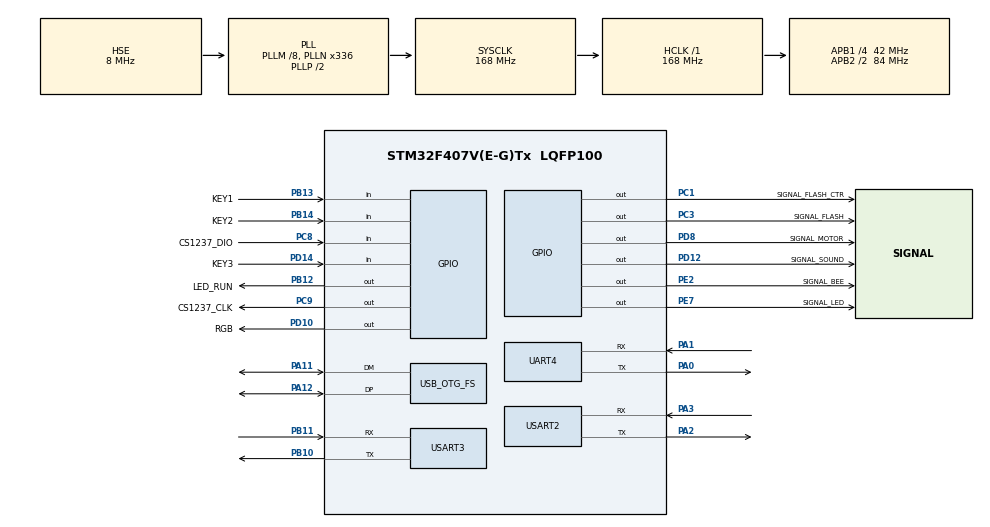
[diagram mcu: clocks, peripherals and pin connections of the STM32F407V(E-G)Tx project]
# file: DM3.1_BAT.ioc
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Mcu.Family=STM32F4
Mcu.Name=STM32F407V(E-G)Tx
Mcu.Package=LQFP100
NVIC.OTG_FS_IRQn=true\:0\:0\:false\:false\:true\:false\:true\:true
NVIC.PriorityGroup=NVIC_PRIORITYGROUP_4
NVIC.TIM2_IRQn=true\:5\:0\:false\:false\:true\:true\:true\:true
NVIC.TIM4_IRQn=true\:5\:0\:false\:false\:true\:true\:true\:true
NVIC.TIM6_DAC_IRQn=true\:5\:0\:false\:false\:true\:true\:true\:true
PA0-WKUP.Mode=Asynchronous
PA0-WKUP.Signal=UART4_TX
PA1.Mode=Asynchronous
PA1.Signal=UART4_RX
PA11.Mode=Device_Only
PA11.Signal=USB_OTG_FS_DM
PA12.Mode=Device_Only
PA12.Signal=USB_OTG_FS_DP
PA13.Mode=Serial_Wire
PA13.Signal=SYS_JTMS-SWDIO
PA14.Mode=Serial_Wire
PA14.Signal=SYS_JTCK-SWCLK
PA2.Mode=Asynchronous
PA2.Signal=USART2_TX
PA3.Mode=Asynchronous
PA3.Signal=USART2_RX
PB3.GPIO_Label=FAN_SPEED_1
PB3.Signal=TIM2_CH2
PB6.GPIO_Label=FAN_SPEED_2
PB6.Signal=TIM4_CH1
PB9.GPIO_Label=FAN_PWM
PB9.Signal=TIM11_CH1
PB10.Mode=Asynchronous
PB10.Signal=USART3_TX
PB11.Mode=Asynchronous
PB11.Signal=USART3_RX
PB12.GPIO_Label=LED_RUN
PB12.Signal=GPIO_Output
PB13.GPIO_Label=KEY1
PB13.GPIO_PuPd=GPIO_PULLUP
PB13.Signal=GPIO_Input
PB14.GPIO_Label=KEY2
PB14.GPIO_PuPd=GPIO_PULLUP
PB14.Signal=GPIO_Input
PC1.GPIO_Label=SIGNAL_FLASH_CTR
PC1.Signal=GPIO_Output
PC3.GPIO_Label=SIGNAL_FLASH
PC3.Signal=GPIO_Output
PC8.GPIO_Label=CS1237_DIO
PC8.Signal=GPIO_Input
PC9.GPIO_Label=CS1237_CLK
PC9.Signal=GPIO_Output
PD8.GPIO_Label=SIGNAL_MOTOR
PD8.Signal=GPIO_Output
PD10.GPIO_Label=RGB
PD10.Signal=GPIO_Output
PD12.GPIO_Label=SIGNAL_SOUND
PD12.GPIO_OutputLevel=GPIO_PIN_SET
PD12.Signal=GPIO_Output
PD14.GPIO_Label=KEY3
PD14.GPIO_PuPd=GPIO_PULLUP
PD14.Signal=GPIO_Input
PE2.GPIO_Label=SIGNAL_BEE
PE2.Signal=GPIO_Output
PE7.GPIO_Label=SIGNAL_LED
PE7.Signal=GPIO_Output
PH0-OSC_IN.Mode=HSE-External-Oscillator
PH0-OSC_IN.Signal=RCC_OSC_IN
PH1-OSC_OUT.Mode=HSE-External-Oscillator
PH1-OSC_OUT.Signal=RCC_OSC_OUT
ProjectManager.HeapSize=0x200
ProjectManager.StackSize=0x400
ProjectManager.TargetToolchain=Makefile
RCC.48MHZClocksFreq_Value=48000000
RCC.AHBFreq_Value=168000000
RCC.APB1CLKDivider=RCC_HCLK_DIV4
RCC.APB1Freq_Value=42000000
RCC.APB1TimFreq_Value=84000000
RCC.APB2CLKDivider=RCC_HCLK_DIV2
RCC.APB2Freq_Value=84000000
RCC.APB2TimFreq_Value=168000000
RCC.CortexFreq_Value=168000000
RCC.HCLKFreq_Value=168000000
RCC.HSE_VALUE=8000000
RCC.HSI_VALUE=16000000
RCC.LSE_VALUE=32768
RCC.PLLM=8
RCC.PLLN=336
RCC.PLLQ=7
RCC.SYSCLKFreq_VALUE=168000000
RCC.SYSCLKSource=RCC_SYSCLKSOURCE_PLLCLK
RCC.VCOOutputFreq_Value=336000000
TIM6.Period=19
TIM6.Prescaler=8399
TIM11.Channel-PWM\ Generation1\ CH1=TIM_CHANNEL_1
TIM11.Period=6719
TIM11.Prescaler=0
TIM11.Pulse-PWM\ Generation1\ CH1=6720
TIM2.Channel-Input_Capture2_from_TI2=TIM_CHANNEL_2
TIM2.Period=65535
TIM2.Prescaler=839
TIM4.Channel-Input_Capture1_from_TI1=TIM_CHANNEL_1
TIM4.Period=65535
TIM4.Prescaler=839
UART4.VirtualMode=Asynchronous
USART2.VirtualMode=VM_ASYNC
USART3.VirtualMode=VM_ASYNC
USB_DEVICE.CLASS_NAME_FS=CDC
USB_DEVICE.VirtualMode-CDC_FS=Cdc
USB_DEVICE.VirtualModeFS=Cdc_FS
USB_OTG_FS.VirtualMode=Device_Only
VP_USB_DEVICE_VS_USB_DEVICE_CDC_FS.Mode=CDC_FS
board=custom

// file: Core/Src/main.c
/* USER CODE BEGIN Header */
/**
  ******************************************************************************
  * @file           : main.c
  * @brief          : Main program body
  ******************************************************************************
  * @attention
  *
  * Copyright (c) 2026 STMicroelectronics.
  * All rights reserved.
  *
  * This software is licensed under terms that can be found in the LICENSE file
  * in the root directory of this software component.
  * If no LICENSE file comes with this software, it is provided AS-IS.
  *
  ******************************************************************************
  */
/* USER CODE END Header */
#include "main.h"
#include "app_board_io.h"
#include "app_cs1237.h"
#include "app_periodic_tick.h"
#include "app_relay_control.h"
#include "app_rgb_led.h"
#include "app_status_led.h"
#include "app_ultrasonic_manager.h"
#include "app_uart5_slave.h"
#include "usb_device.h"

/* USER CODE BEGIN PD */
#define APP_USB_REENUMERATE_DELAY_MS 120U

/* USER CODE END PD */

TIM_HandleTypeDef htim2;
TIM_HandleTypeDef htim4;
TIM_HandleTypeDef htim6;
TIM_HandleTypeDef htim11;

UART_HandleTypeDef huart4;
UART_HandleTypeDef huart2;
UART_HandleTypeDef huart3;

void SystemClock_Config(void);
static void MX_GPIO_Init(void);
static void MX_TIM2_Init(void);
static void MX_TIM4_Init(void);
static void MX_TIM6_Init(void);
static void MX_TIM11_Init(void);
static void MX_UART4_Init(void);
static void MX_USART2_UART_Init(void);
static void MX_USART3_UART_Init(void);
/* USER CODE BEGIN PFP */
static void App_ForceUsbDisconnect(void);

/* USER CODE END PFP */

/* USER CODE BEGIN 0 */
static void App_ForceUsbDisconnect(void)
{
  GPIO_InitTypeDef GPIO_InitStruct = {0};

  __HAL_RCC_GPIOA_CLK_ENABLE();

  GPIO_InitStruct.Pin = GPIO_PIN_12;
  GPIO_InitStruct.Mode = GPIO_MODE_OUTPUT_PP;
  GPIO_InitStruct.Pull = GPIO_NOPULL;
  GPIO_InitStruct.Speed = GPIO_SPEED_FREQ_LOW;
  HAL_GPIO_Init(GPIOA, &GPIO_InitStruct);

  HAL_GPIO_WritePin(GPIOA, GPIO_PIN_12, GPIO_PIN_RESET);
  HAL_Delay(APP_USB_REENUMERATE_DELAY_MS);
  HAL_GPIO_DeInit(GPIOA, GPIO_PIN_12);
}

/* USER CODE END 0 */

int main(void)
{

  /* MCU Configuration--------------------------------------------------------*/

  /* Reset of all peripherals, Initializes the Flash interface and the Systick. */
  HAL_Init();

  /* Configure the system clock */
  SystemClock_Config();

  /* Initialize all configured peripherals */
  MX_GPIO_Init();
  App_RgbLed_Init();
  MX_TIM2_Init();
  MX_TIM4_Init();
  MX_TIM6_Init();
  MX_TIM11_Init();
  MX_UART4_Init();
  MX_USART2_UART_Init();
  MX_USART3_UART_Init();
  App_ForceUsbDisconnect();
  MX_USB_DEVICE_Init();
  /* USER CODE BEGIN 2 */
  if (App_CS1237_Init() != APP_CS1237_RESULT_OK)
  {
    /* Keep the rest of the board operational; the snapshot reports the error. */
  }
  if (App_BoardIO_Init(&htim11, &htim2, &htim4) != HAL_OK)
  {
    Error_Handler();
  }
  if (HAL_TIM_Base_Start_IT(&htim6) != HAL_OK)
  {
    Error_Handler();
  }
  App_RelayControl_Init(App_PeriodicTick_Get());
  /* 初始化 USB CDC 从机节点，等待 Jetson 主机查询状态。 */
  if (App_Uart5Slave_Init() != HAL_OK)
  {
    Error_Handler();
  }
  /* 初始化三路受控型超声波传感器：前 UART2、左 UART4、右 UART3。 */
  if (App_UltrasonicManager_Init(&huart2, &huart4, &huart3) != HAL_OK)
  {
    Error_Handler();
  }
  App_StatusLed_Init();

  /* USER CODE END 2 */

  /* Infinite loop */
  while (1)
  {

    /* USER CODE BEGIN 3 */
    uint32_t current_tick = App_PeriodicTick_Get();
    /* 用户任务统一在主循环中执行，避免在中断里做耗时处理。 */
    App_CS1237_Run();
    App_BoardIO_Run(current_tick);
    App_RelayControl_Service(current_tick);
    App_RgbLed_Run(current_tick);
    App_Uart5Slave_RunFastGpio(current_tick);
    App_UltrasonicManager_Run(current_tick);
    App_Uart5Slave_Run(current_tick);
    if (App_Uart5Slave_IsBootloaderResetPending() == 0U)
    {
      App_StatusLed_Run(current_tick);
    }
  }
  /* USER CODE END 3 */
}

void SystemClock_Config(void)
{
  RCC_OscInitTypeDef RCC_OscInitStruct = {0};
  RCC_ClkInitTypeDef RCC_ClkInitStruct = {0};

  /** Configure the main internal regulator output voltage
  */
  __HAL_RCC_PWR_CLK_ENABLE();
  __HAL_PWR_VOLTAGESCALING_CONFIG(PWR_REGULATOR_VOLTAGE_SCALE1);

  /** Initializes the RCC Oscillators according to the specified parameters
  * in the RCC_OscInitTypeDef structure.
  */
  RCC_OscInitStruct.OscillatorType = RCC_OSCILLATORTYPE_HSE;
  RCC_OscInitStruct.HSEState = RCC_HSE_ON;
  RCC_OscInitStruct.PLL.PLLState = RCC_PLL_ON;
  RCC_OscInitStruct.PLL.PLLSource = RCC_PLLSOURCE_HSE;
  RCC_OscInitStruct.PLL.PLLM = 8;
  RCC_OscInitStruct.PLL.PLLN = 336;
  RCC_OscInitStruct.PLL.PLLP = RCC_PLLP_DIV2;
  RCC_OscInitStruct.PLL.PLLQ = 7;
  if (HAL_RCC_OscConfig(&RCC_OscInitStruct) != HAL_OK)
  {
    Error_Handler();
  }

  /** Initializes the CPU, AHB and APB buses clocks
  */
  RCC_ClkInitStruct.ClockType = RCC_CLOCKTYPE_HCLK|RCC_CLOCKTYPE_SYSCLK
                              |RCC_CLOCKTYPE_PCLK1|RCC_CLOCKTYPE_PCLK2;
  RCC_ClkInitStruct.SYSCLKSource = RCC_SYSCLKSOURCE_PLLCLK;
  RCC_ClkInitStruct.AHBCLKDivider = RCC_SYSCLK_DIV1;
  RCC_ClkInitStruct.APB1CLKDivider = RCC_HCLK_DIV4;
  RCC_ClkInitStruct.APB2CLKDivider = RCC_HCLK_DIV2;

  if (HAL_RCC_ClockConfig(&RCC_ClkInitStruct, FLASH_LATENCY_5) != HAL_OK)
  {
    Error_Handler();
  }
}

static void MX_TIM2_Init(void)
{
  TIM_IC_InitTypeDef config = {0};

  htim2.Instance = TIM2;
  htim2.Init.Prescaler = 839;
  htim2.Init.CounterMode = TIM_COUNTERMODE_UP;
  htim2.Init.Period = 65535;
  htim2.Init.ClockDivision = TIM_CLOCKDIVISION_DIV1;
  htim2.Init.AutoReloadPreload = TIM_AUTORELOAD_PRELOAD_DISABLE;
  if (HAL_TIM_IC_Init(&htim2) != HAL_OK)
  {
    Error_Handler();
  }
  config.ICPolarity = TIM_INPUTCHANNELPOLARITY_FALLING;
  config.ICSelection = TIM_ICSELECTION_DIRECTTI;
  config.ICPrescaler = TIM_ICPSC_DIV1;
  config.ICFilter = 4;
  if (HAL_TIM_IC_ConfigChannel(&htim2, &config, TIM_CHANNEL_2) != HAL_OK)
  {
    Error_Handler();
  }
}

static void MX_TIM4_Init(void)
{
  TIM_IC_InitTypeDef config = {0};

  htim4.Instance = TIM4;
  htim4.Init.Prescaler = 839;
  htim4.Init.CounterMode = TIM_COUNTERMODE_UP;
  htim4.Init.Period = 65535;
  htim4.Init.ClockDivision = TIM_CLOCKDIVISION_DIV1;
  htim4.Init.AutoReloadPreload = TIM_AUTORELOAD_PRELOAD_DISABLE;
  if (HAL_TIM_IC_Init(&htim4) != HAL_OK)
  {
    Error_Handler();
  }
  config.ICPolarity = TIM_INPUTCHANNELPOLARITY_FALLING;
  config.ICSelection = TIM_ICSELECTION_DIRECTTI;
  config.ICPrescaler = TIM_ICPSC_DIV1;
  config.ICFilter = 4;
  if (HAL_TIM_IC_ConfigChannel(&htim4, &config, TIM_CHANNEL_1) != HAL_OK)
  {
    Error_Handler();
  }
}

static void MX_TIM11_Init(void)
{
  TIM_OC_InitTypeDef config = {0};

  htim11.Instance = TIM11;
  htim11.Init.Prescaler = 0;
  htim11.Init.CounterMode = TIM_COUNTERMODE_UP;
  htim11.Init.Period = 6719;
  htim11.Init.ClockDivision = TIM_CLOCKDIVISION_DIV1;
  htim11.Init.AutoReloadPreload = TIM_AUTORELOAD_PRELOAD_DISABLE;
  if (HAL_TIM_PWM_Init(&htim11) != HAL_OK)
  {
    Error_Handler();
  }
  config.OCMode = TIM_OCMODE_PWM1;
  config.Pulse = 6720;
  config.OCPolarity = TIM_OCPOLARITY_HIGH;
  config.OCFastMode = TIM_OCFAST_DISABLE;
  if (HAL_TIM_PWM_ConfigChannel(&htim11, &config, TIM_CHANNEL_1) != HAL_OK)
  {
    Error_Handler();
  }
}

static void MX_TIM6_Init(void)
{

  htim6.Instance = TIM6;
  htim6.Init.Prescaler = 8399;
  htim6.Init.CounterMode = TIM_COUNTERMODE_UP;
  htim6.Init.Period = 19;
  htim6.Init.AutoReloadPreload = TIM_AUTORELOAD_PRELOAD_DISABLE;
  if (HAL_TIM_Base_Init(&htim6) != HAL_OK)
  {
    Error_Handler();
  }

}

static void MX_UART4_Init(void)
{

  huart4.Instance = UART4;
  huart4.Init.BaudRate = 115200;
  huart4.Init.WordLength = UART_WORDLENGTH_8B;
  huart4.Init.StopBits = UART_STOPBITS_1;
  huart4.Init.Parity = UART_PARITY_NONE;
  huart4.Init.Mode = UART_MODE_TX_RX;
  huart4.Init.HwFlowCtl = UART_HWCONTROL_NONE;
  huart4.Init.OverSampling = UART_OVERSAMPLING_16;
  if (HAL_UART_Init(&huart4) != HAL_OK)
  {
    Error_Handler();
  }

}

static void MX_USART2_UART_Init(void)
{

  huart2.Instance = USART2;
  huart2.Init.BaudRate = 115200;
  huart2.Init.WordLength = UART_WORDLENGTH_8B;
  huart2.Init.StopBits = UART_STOPBITS_1;
  huart2.Init.Parity = UART_PARITY_NONE;
  huart2.Init.Mode = UART_MODE_TX_RX;
  huart2.Init.HwFlowCtl = UART_HWCONTROL_NONE;
  huart2.Init.OverSampling = UART_OVERSAMPLING_16;
  if (HAL_UART_Init(&huart2) != HAL_OK)
  {
    Error_Handler();
  }

}

static void MX_USART3_UART_Init(void)
{

  huart3.Instance = USART3;
  huart3.Init.BaudRate = 115200;
  huart3.Init.WordLength = UART_WORDLENGTH_8B;
  huart3.Init.StopBits = UART_STOPBITS_1;
  huart3.Init.Parity = UART_PARITY_NONE;
  huart3.Init.Mode = UART_MODE_TX_RX;
  huart3.Init.HwFlowCtl = UART_HWCONTROL_NONE;
  huart3.Init.OverSampling = UART_OVERSAMPLING_16;
  if (HAL_UART_Init(&huart3) != HAL_OK)
  {
    Error_Handler();
  }

}

static void MX_GPIO_Init(void)
{
  GPIO_InitTypeDef GPIO_InitStruct = {0};

  /* GPIO Ports Clock Enable */
  __HAL_RCC_GPIOH_CLK_ENABLE();
  __HAL_RCC_GPIOA_CLK_ENABLE();
  __HAL_RCC_GPIOC_CLK_ENABLE();
  __HAL_RCC_GPIOB_CLK_ENABLE();
  __HAL_RCC_GPIOE_CLK_ENABLE();
  __HAL_RCC_GPIOD_CLK_ENABLE();

  /*Configure GPIO pin Output Level */
  HAL_GPIO_WritePin(GPIOC, GPIO_PIN_1|GPIO_PIN_3|CS1237_CLK_Pin, GPIO_PIN_RESET);

  /*Configure GPIO pin Output Level */
  HAL_GPIO_WritePin(LED_RUN_GPIO_Port, LED_RUN_Pin, GPIO_PIN_RESET);

  /*Configure GPIO pin Output Level */
  HAL_GPIO_WritePin(GPIOD, GPIO_PIN_8|RGB_Pin, GPIO_PIN_RESET);

  /*Configure GPIO pin Output Level */
  HAL_GPIO_WritePin(GPIOD, GPIO_PIN_12, GPIO_PIN_SET);

  /*Configure GPIO pin Output Level */
  HAL_GPIO_WritePin(GPIOE, GPIO_PIN_2|GPIO_PIN_7, GPIO_PIN_RESET);

  /*Configure GPIO pins : KEY1_Pin KEY2_Pin */
  GPIO_InitStruct.Pin = KEY1_Pin|KEY2_Pin;
  GPIO_InitStruct.Mode = GPIO_MODE_INPUT;
  GPIO_InitStruct.Pull = GPIO_PULLUP;
  HAL_GPIO_Init(GPIOB, &GPIO_InitStruct);

  /*Configure GPIO pin : KEY3_Pin */
  GPIO_InitStruct.Pin = KEY3_Pin;
  HAL_GPIO_Init(KEY3_GPIO_Port, &GPIO_InitStruct);

  /*Configure GPIO pins : PC1 PC3 CS1237_CLK_Pin */
  GPIO_InitStruct.Pin = GPIO_PIN_1|GPIO_PIN_3|CS1237_CLK_Pin;
  GPIO_InitStruct.Mode = GPIO_MODE_OUTPUT_PP;
  GPIO_InitStruct.Pull = GPIO_NOPULL;
  GPIO_InitStruct.Speed = GPIO_SPEED_FREQ_LOW;
  HAL_GPIO_Init(GPIOC, &GPIO_InitStruct);

  /*Configure GPIO pin : LED_RUN_Pin */
  GPIO_InitStruct.Pin = LED_RUN_Pin;
  HAL_GPIO_Init(LED_RUN_GPIO_Port, &GPIO_InitStruct);

  /*Configure GPIO pins : PD8 RGB_Pin PD12 */
  GPIO_InitStruct.Pin = GPIO_PIN_8|RGB_Pin|GPIO_PIN_12;
  HAL_GPIO_Init(GPIOD, &GPIO_InitStruct);

  /*Configure GPIO pins : PE2 PE7 */
  GPIO_InitStruct.Pin = GPIO_PIN_2|GPIO_PIN_7;
  GPIO_InitStruct.Mode = GPIO_MODE_OUTPUT_PP;
  GPIO_InitStruct.Pull = GPIO_NOPULL;
  GPIO_InitStruct.Speed = GPIO_SPEED_FREQ_LOW;
  HAL_GPIO_Init(GPIOE, &GPIO_InitStruct);

  /*Configure GPIO pin : CS1237_DIO_Pin */
  GPIO_InitStruct.Pin = CS1237_DIO_Pin;
  GPIO_InitStruct.Mode = GPIO_MODE_INPUT;
  GPIO_InitStruct.Pull = GPIO_NOPULL;
  HAL_GPIO_Init(CS1237_DIO_GPIO_Port, &GPIO_InitStruct);

}

void Error_Handler(void)
{
  __disable_irq();
  while (1)
  {
  }
}
